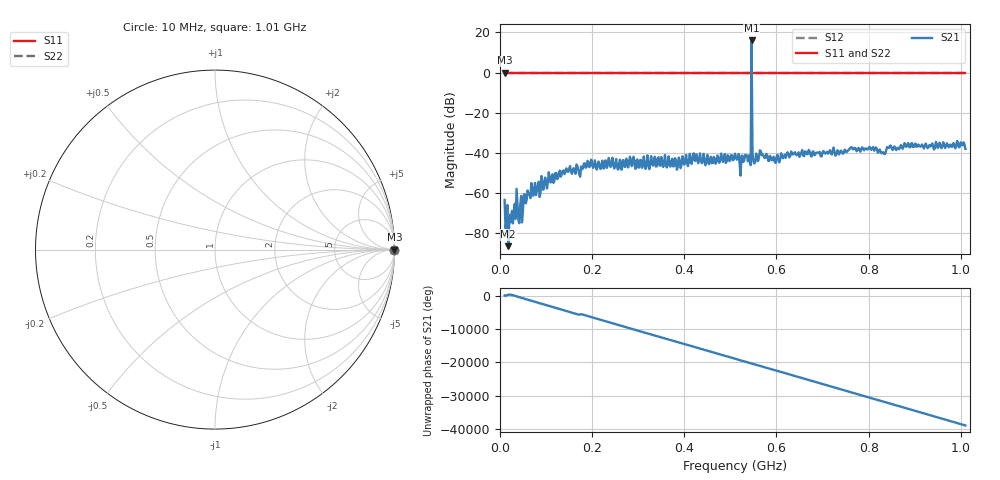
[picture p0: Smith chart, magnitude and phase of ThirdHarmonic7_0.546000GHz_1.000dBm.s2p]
! 8/17/2025 4:29:24 PM
! C:\ANRITSUVNA\TEMP\TEMP.S2P
! CHANNEL.1
! TR.MEASUREMENT
! RAW.DATA
! RF.CORRECTION.OFF
! AVERAGING.OFF
! IF.BANDWIDTH: 5KHZ
! SWEEPTYPE:  FREQ.SWEEP(Linear)
! Reference Plane Port Info
! PORT:  PORT1  PORT2
! DISTANCE:  0  m  0  m
! TIME:  0  s  0  s
! PHASE.OFFSET:  0  deg.  0  deg.
! LOSS:  0  dB  0  dB
! REF.LOSS:  0  dB  0  dB
! REF.FREQ:  0  Hz  0  Hz
! Power Info
! POWER:  -20  dBm  -20  dBm
! EFF.POWER:  -20  dBm  -20  dBm
! SOURCE.ATTEN:  0  dB  0  dB
! TEST.ATTEN:  0  dB  0  dB
# GHZ S RI R 50.0
! FREQ.GHZ  S11RE  S11IM  S21RE  S21IM  S12RE  S12IM  S22RE  S22IM
!; PortSelection: Port_12
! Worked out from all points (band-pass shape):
!   501 points, 10 MHz to 1.01 GHz, reference 50 ohm
!   highest |S21| = 16.03 dB at 546 MHz (marker M1); lowest = -86.5 dB at 18 MHz (marker M2)
!   |S21| within 3 dB of the highest: 545.9035 MHz to 546.1071 MHz (203.6 kHz wide, 0.0373 % of centre)
!   lowest |S11| = 0.0 dB at 10 MHz (marker M3)
!   |S11| at or under -10 dB: nowhere
!   |S22| runs from 0.0 to 0.0 dB; largest |S21 - S12| = 7.3
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0.01  1 0  -0.000297 0.000602  1 0  1 0
0.016  1 0  4.62e-05 -0.000497  1 0  1 0
0.018  1 0  4.17e-05 -2.2e-05  1 0  1 0
0.034  1 0  5.78e-05 -0.000217  1 0  1 0
0.044  1 0  2.29e-05 -0.000516  1 0  1 0
0.056  1 0  0.000151 0.000531  1 0  1 0
0.072  1 0  -0.000814 0.000258  1 0  1 0
0.148  1 0  0.00278 -0.00186  1 0  1 0
0.178  1 0  -0.0037 -0.00122  1 0  1 0
0.194  1 0  -0.000357 -0.00439  1 0  1 0
0.344  1 0  0.00765 -0.00131  1 0  1 0
0.51  1 0  -0.00894 -0.00327  1 0  1 0
0.54  1 0  0.00162 0.00841  1 0  1 0
0.542  1 0  0.00756 -0.00273  1 0  1 0
0.546  1 0  -5.984 -2.065  1 0  1 0
0.55  1 0  0.00578 0.00192  1 0  1 0
0.552  1 0  0.00356 -0.0041  1 0  1 0
0.678  1 0  0.00728 -0.00767  1 0  1 0
0.766  1 0  0.012 0.00211  1 0  1 0
0.832  1 0  -0.0044 -0.00938  1 0  1 0
0.844  1 0  -0.00861 0.00995  1 0  1 0
1.01  1 0  0.00318 -0.0121  1 0  1 0
